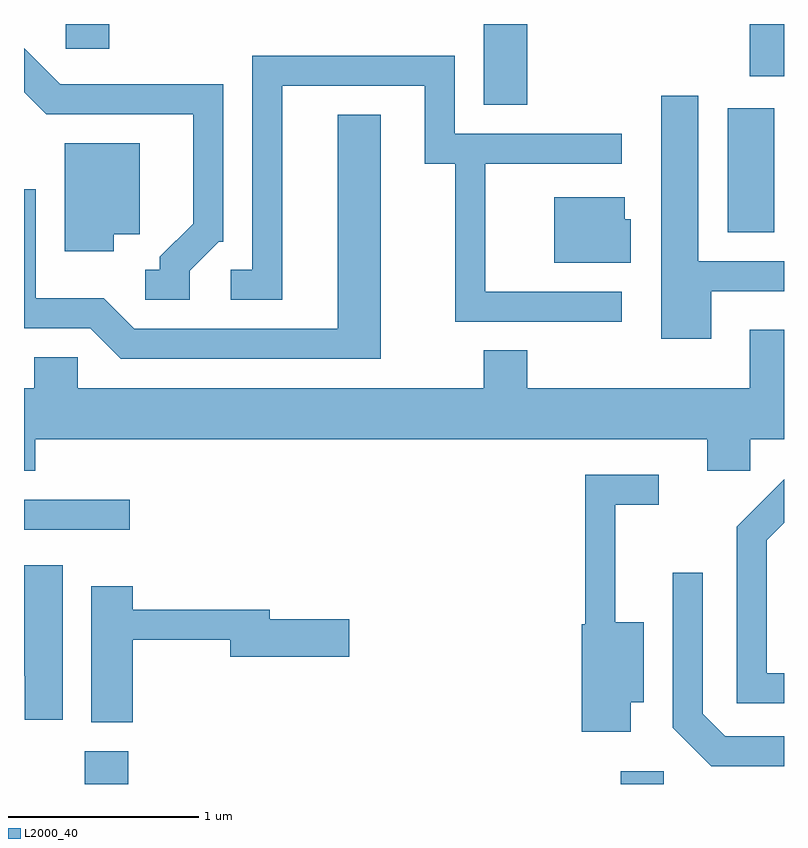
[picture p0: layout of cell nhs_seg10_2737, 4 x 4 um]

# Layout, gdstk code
import gdstk
lib = gdstk.Library(unit=1e-6, precision=1e-09)
def R(c, l, rs):  # rectangles x0, y0, x1, y1
    for r in rs: c.add(gdstk.rectangle(r[:2], r[2:], *l))
def P(c, l, *ps):  # polygons
    for p in ps: c.add(gdstk.Polygon(p, *l))
L2000_40 = (2000, 40)

nhs_seg10_2737 = lib.new_cell('nhs_seg10_2737')
R(nhs_seg10_2737, L2000_40, [(265.931,2136.522,266.159,2136.694), (268.751,2136.522,268.979,2136.589), (265.611,2137.861,266.168,2138.019), (269.316,2139.426,269.559,2140.079), (268.031,2140.096,268.259,2140.522), (269.431,2140.246,269.611,2140.522), (265.831,2140.391,266.059,2140.522)])
P(nhs_seg10_2737, L2000_40, [(266.484,2139.224),(266.637,2139.376),(266.659,2139.376),(266.659,2140.204),(265.802,2140.204),(265.611,2140.395),(265.611,2140.164),(265.729,2140.046),(266.501,2140.046),(266.501,2139.472),(266.326,2139.297),(266.326,2139.229),(266.248,2139.229),(266.248,2139.071),(266.484,2139.071)],
  [(268.758,2139.114),(268.039,2139.114),(268.039,2139.786),(268.758,2139.786),(268.758,2139.944),(267.879,2139.944),(267.879,2140.354),(266.811,2140.354),(266.811,2139.229),(266.698,2139.229),(266.698,2139.071),(266.969,2139.071),(266.969,2140.196),(267.721,2140.196),(267.721,2139.786),(267.881,2139.786),(267.881,2138.956),(268.758,2138.956)],
  [(269.229,2139.116),(269.611,2139.116),(269.611,2139.274),(269.159,2139.274),(269.159,2140.144),(268.966,2140.144),(268.966,2138.866),(269.229,2138.866)],
  [(267.489,2140.044),(267.261,2140.044),(267.261,2138.919),(266.192,2138.919),(266.032,2139.079),(265.674,2139.079),(265.674,2139.653),(265.611,2139.653),(265.611,2138.921),(265.959,2138.921),(266.119,2138.761),(267.489,2138.761)],
  [(266.084,2139.416),(266.219,2139.416),(266.219,2139.894),(265.826,2139.894),(265.826,2139.326),(266.084,2139.326)],
  [(268.804,2139.494),(268.774,2139.494),(268.774,2139.609),(268.401,2139.609),(268.401,2139.266),(268.804,2139.266)],
  [(265.669,2138.336),(269.206,2138.336),(269.206,2138.171),(269.434,2138.171),(269.434,2138.336),(269.611,2138.336),(269.611,2138.914),(269.431,2138.914),(269.431,2138.604),(268.259,2138.604),(268.259,2138.804),(268.031,2138.804),(268.031,2138.604),(265.894,2138.604),(265.894,2138.769),(265.666,2138.769),(265.666,2138.604),(265.611,2138.604),(265.611,2138.171),(265.669,2138.171)],
  [(268.804,2136.951),(268.874,2136.951),(268.874,2137.374),(268.724,2137.374),(268.724,2137.991),(268.953,2137.991),(268.953,2138.149),(268.566,2138.149),(268.566,2137.364),(268.546,2137.364),(268.546,2136.796),(268.804,2136.796)],
  [(269.611,2137.104),(269.519,2137.104),(269.519,2137.804),(269.611,2137.896),(269.611,2138.126),(269.361,2137.877),(269.361,2136.946),(269.611,2136.946)],
  [(265.814,2137.674),(265.611,2137.674),(265.611,2137.091),(265.616,2137.091),(265.616,2136.861),(265.814,2136.861)],
  [(269.611,2136.774),(269.302,2136.774),(269.184,2136.892),(269.184,2137.633),(269.026,2137.633),(269.026,2136.819),(269.229,2136.616),(269.611,2136.616)],
  [(266.184,2137.281),(266.696,2137.281),(266.696,2137.191),(267.324,2137.191),(267.324,2137.389),(266.904,2137.389),(266.904,2137.439),(266.184,2137.439),(266.184,2137.564),(265.966,2137.564),(265.966,2136.846),(266.184,2136.846)])

lib.write_gds('nhs_seg10_2737.gds')
